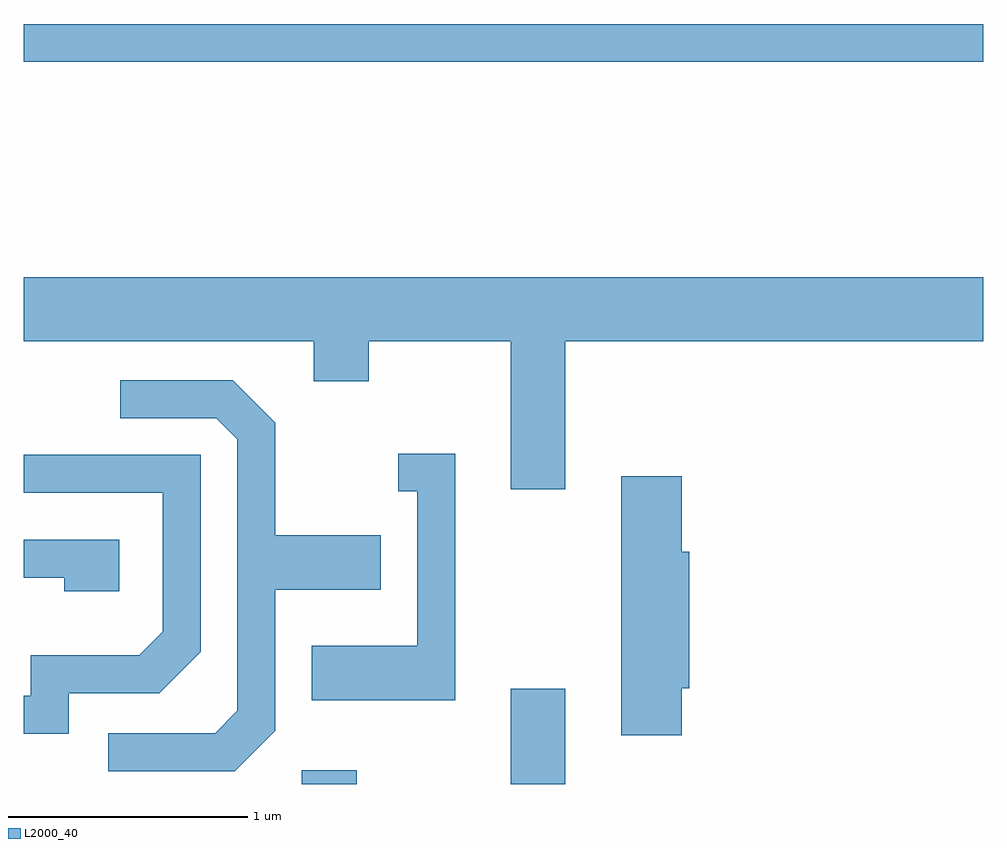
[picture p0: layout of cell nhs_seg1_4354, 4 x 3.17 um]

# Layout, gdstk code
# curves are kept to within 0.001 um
import gdstk
lib = gdstk.Library(unit=1e-6, precision=1e-09)
def R(c, l, rs):  # rectangles x0, y0, x1, y1
    for r in rs: c.add(gdstk.rectangle(r[:2], r[2:], *l))
def P(c, l, *ps):  # polygons
    for p in ps: c.add(gdstk.Polygon(p, *l))
L2000_40 = (2000, 40)

nhs_seg1_4354 = lib.new_cell('nhs_seg1_4354')
R(nhs_seg1_4354, L2000_40, [(316.771,917.712,316.999,917.769), (317.641,917.712,317.869,918.109), (315.611,920.721,319.611,920.879)])
P(nhs_seg1_4354, L2000_40, [(317.869,919.556),(319.611,919.556),(319.611,919.824),(315.611,919.824),(315.611,919.556),(316.821,919.556),(316.821,919.391),(317.049,919.391),(317.049,919.556),(317.641,919.556),(317.641,918.941),(317.869,918.941)],
  [(316.659,917.934),(316.659,918.521),(317.099,918.521),(317.099,918.749),(316.659,918.749),(316.659,919.217),(316.482,919.394),(316.013,919.394),(316.013,919.236),(316.414,919.236),(316.501,919.149),(316.501,918.017),(316.409,917.924),(315.963,917.924),(315.963,917.766),(316.492,917.766)],
  [(317.409,919.089),(317.173,919.089),(317.173,918.931),(317.251,918.931),(317.251,918.289),(316.811,918.289),(316.811,918.061),(317.409,918.061)],
  [(315.799,918.091),(316.177,918.091),(316.349,918.264),(316.349,919.084),(315.611,919.084),(315.611,918.926),(316.191,918.926),(316.191,918.347),(316.094,918.249),(315.641,918.249),(315.641,918.079),(315.611,918.079),(315.611,917.921),(315.799,917.921)],
  [(318.354,918.111),(318.384,918.111),(318.384,918.679),(318.354,918.679),(318.354,918.994),(318.101,918.994),(318.101,917.916),(318.354,917.916)],
  [(316.009,918.729),(315.611,918.729),(315.611,918.571),(315.781,918.571),(315.781,918.516),(316.009,918.516)])

lib.write_gds('nhs_seg1_4354.gds')
